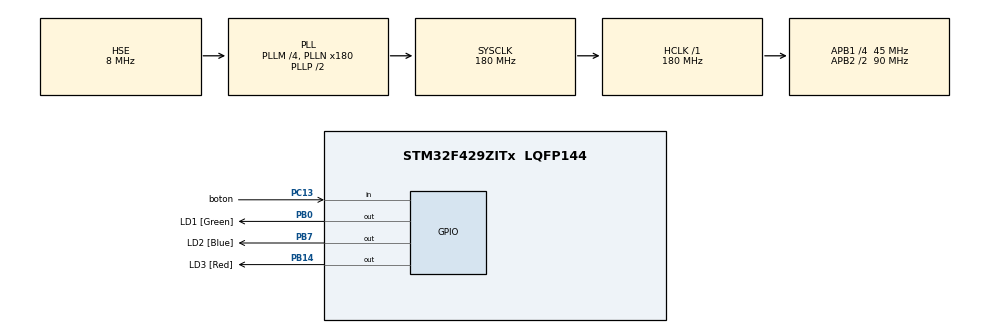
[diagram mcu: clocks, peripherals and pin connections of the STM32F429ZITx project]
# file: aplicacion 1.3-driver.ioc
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Mcu.Family=STM32F4
Mcu.Name=STM32F429ZITx
Mcu.Package=LQFP144
NVIC.PriorityGroup=NVIC_PRIORITYGROUP_4
PB0.GPIO_Label=LD1 [Green]
PB0.Signal=GPIO_Output
PB14.GPIO_Label=LD3 [Red]
PB14.Signal=GPIO_Output
PB7.GPIO_Label=LD2 [Blue]
PB7.Signal=GPIO_Output
PC13.GPIO_Label=boton
PC13.Signal=GPIO_Input
PH0/OSC_IN.Mode=HSE-External-Oscillator
PH0/OSC_IN.Signal=RCC_OSC_IN
PH1/OSC_OUT.Mode=HSE-External-Oscillator
PH1/OSC_OUT.Signal=RCC_OSC_OUT
ProjectManager.HeapSize=0x200
ProjectManager.StackSize=0x400
ProjectManager.TargetToolchain=STM32CubeIDE
RCC.48MHZClocksFreq_Value=51428571.428571425
RCC.AHBFreq_Value=180000000
RCC.APB1CLKDivider=RCC_HCLK_DIV4
RCC.APB1Freq_Value=45000000
RCC.APB1TimFreq_Value=90000000
RCC.APB2CLKDivider=RCC_HCLK_DIV2
RCC.APB2Freq_Value=90000000
RCC.APB2TimFreq_Value=180000000
RCC.CortexFreq_Value=180000000
RCC.HCLKFreq_Value=180000000
RCC.HSE_VALUE=8000000
RCC.HSI_VALUE=16000000
RCC.LSE_VALUE=32768
RCC.PLLM=4
RCC.PLLMUL=RCC_PLL_MUL9
RCC.PLLN=180
RCC.PLLQ=7
RCC.PLLSourceVirtual=RCC_PLLSOURCE_HSE
RCC.PRESCALERUSB=RCC_USBCLKSOURCE_PLL_DIV1_5
RCC.SYSCLKFreq_VALUE=180000000
RCC.SYSCLKSource=RCC_SYSCLKSOURCE_PLLCLK
RCC.SYSCLKSourceVirtual=RCC_SYSCLKSOURCE_PLLCLK
RCC.USBFreq_Value=48000000
RCC.VCOOutputFreq_Value=360000000
board=NUCLEO-F429ZI

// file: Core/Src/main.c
/* USER CODE BEGIN Header */
/**
  ******************************************************************************
  * @file           : main.c
  * @brief          : Main program body
  ******************************************************************************
  * @attention
  *
  * Copyright (c) 2026 STMicroelectronics.
  * All rights reserved.
  *
  * This software is licensed under terms that can be found in the LICENSE file
  * in the root directory of this software component.
  * If no LICENSE file comes with this software, it is provided AS-IS.
  *
  ******************************************************************************
  */
/* USER CODE END Header */
#include "main.h"

/* USER CODE BEGIN Includes */
#include "API_GPIO.h"
/* USER CODE END Includes */

/* USER CODE BEGIN PV */
// Tiempos de alternancia en ms
uint8_t secuencia = 0;

/* USER CODE END PV */

void SystemClock_Config(void);
static void MX_GPIO_Init(void);

int main(void)
{

  /* MCU Configuration--------------------------------------------------------*/

  /* Reset of all peripherals, Initializes the Flash interface and the Systick. */
  HAL_Init();

  /* Configure the system clock */
  SystemClock_Config();

  /* Initialize all configured peripherals */
  MX_GPIO_Init();
  /* USER CODE BEGIN 2 */
  API_GPIO_Init();
  /* USER CODE END 2 */

  /* Infinite loop */
  while (1)
  {

    /* USER CODE BEGIN 3 */
	  if(API_GPIO_IsButtonPressed()){
		  secuencia = secuencia + 1;

	  }
	  if(secuencia > 4){
	  		  	  		  		  secuencia = 0;
	  		  	  		  	  }

	  switch(secuencia){
	  case 1:
		  API_GPIO_TL();
		  break;
	  case 2:
		  API_GPIO_ToggleAllLeds();
		  HAL_Delay(300);
		  break;
	  case 3:
		  API_GPIO_ParpadeoConDelay();
		  break;
	  case 4:
		  API_GPIO_ParpadeoInverso();
		  break;
	  }

 }

  /* USER CODE END 3 */

}
void SystemClock_Config(void)
{
  RCC_OscInitTypeDef RCC_OscInitStruct = {0};
  RCC_ClkInitTypeDef RCC_ClkInitStruct = {0};

  /** Configure the main internal regulator output voltage
  */
  __HAL_RCC_PWR_CLK_ENABLE();
  __HAL_PWR_VOLTAGESCALING_CONFIG(PWR_REGULATOR_VOLTAGE_SCALE1);

  /** Initializes the RCC Oscillators according to the specified parameters
  * in the RCC_OscInitTypeDef structure.
  */
  RCC_OscInitStruct.OscillatorType = RCC_OSCILLATORTYPE_HSE;
  RCC_OscInitStruct.HSEState = RCC_HSE_ON;
  RCC_OscInitStruct.PLL.PLLState = RCC_PLL_ON;
  RCC_OscInitStruct.PLL.PLLSource = RCC_PLLSOURCE_HSE;
  RCC_OscInitStruct.PLL.PLLM = 4;
  RCC_OscInitStruct.PLL.PLLN = 180;
  RCC_OscInitStruct.PLL.PLLP = RCC_PLLP_DIV2;
  RCC_OscInitStruct.PLL.PLLQ = 7;
  if (HAL_RCC_OscConfig(&RCC_OscInitStruct) != HAL_OK)
  {
    Error_Handler();
  }

  /** Activate the Over-Drive mode
  */
  if (HAL_PWREx_EnableOverDrive() != HAL_OK)
  {
    Error_Handler();
  }

  /** Initializes the CPU, AHB and APB buses clocks
  */
  RCC_ClkInitStruct.ClockType = RCC_CLOCKTYPE_HCLK|RCC_CLOCKTYPE_SYSCLK
                              |RCC_CLOCKTYPE_PCLK1|RCC_CLOCKTYPE_PCLK2;
  RCC_ClkInitStruct.SYSCLKSource = RCC_SYSCLKSOURCE_PLLCLK;
  RCC_ClkInitStruct.AHBCLKDivider = RCC_SYSCLK_DIV1;
  RCC_ClkInitStruct.APB1CLKDivider = RCC_HCLK_DIV4;
  RCC_ClkInitStruct.APB2CLKDivider = RCC_HCLK_DIV2;

  if (HAL_RCC_ClockConfig(&RCC_ClkInitStruct, FLASH_LATENCY_5) != HAL_OK)
  {
    Error_Handler();
  }
}

static void MX_GPIO_Init(void)
{
  GPIO_InitTypeDef GPIO_InitStruct = {0};

  /* GPIO Ports Clock Enable */
  __HAL_RCC_GPIOC_CLK_ENABLE();
  __HAL_RCC_GPIOH_CLK_ENABLE();
  __HAL_RCC_GPIOB_CLK_ENABLE();

  /*Configure GPIO pin Output Level */
  HAL_GPIO_WritePin(GPIOB, LD1_Pin|LD3_Pin|LD2_Pin, GPIO_PIN_RESET);

  /*Configure GPIO pin : button_Pin */
  GPIO_InitStruct.Pin = boton_Pin;
  GPIO_InitStruct.Mode = GPIO_MODE_IT_RISING;
  GPIO_InitStruct.Pull = GPIO_NOPULL;
  HAL_GPIO_Init(boton_GPIO_Port, &GPIO_InitStruct);

  /*Configure GPIO pins : LD1_Pin LD3_Pin LD2_Pin */
  GPIO_InitStruct.Pin = LD1_Pin|LD3_Pin|LD2_Pin;
  GPIO_InitStruct.Mode = GPIO_MODE_OUTPUT_PP;
  GPIO_InitStruct.Pull = GPIO_NOPULL;
  GPIO_InitStruct.Speed = GPIO_SPEED_FREQ_LOW;
  HAL_GPIO_Init(GPIOB, &GPIO_InitStruct);

}

void Error_Handler(void)
{
  __disable_irq();
  while (1)
  {
  }
}
